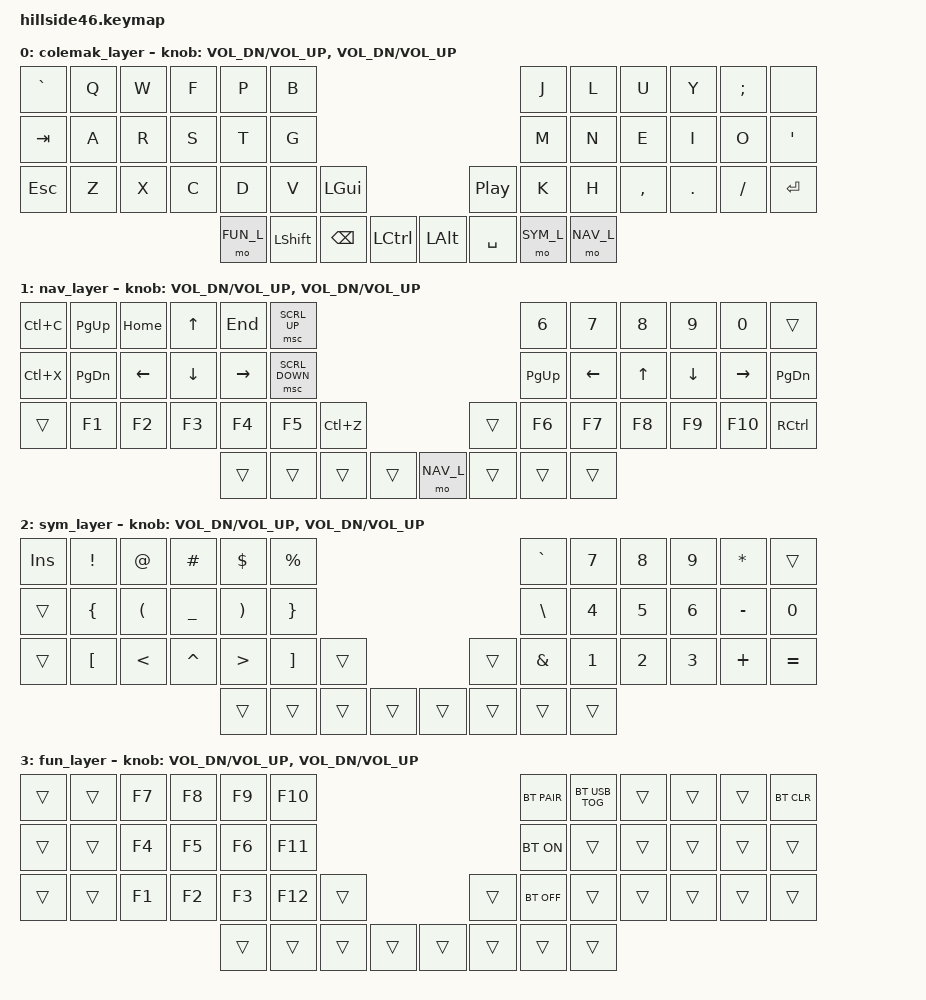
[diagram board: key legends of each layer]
/*
 * Copyright (c) 2021-2022 The ZMK Contributors
 *
 * SPDX-License-Identifier: MIT
 */

#include <behaviors.dtsi>
#include <dt-bindings/zmk/bt.h>
#include <dt-bindings/zmk/ext_power.h>
#include <dt-bindings/zmk/keys.h>
#include <dt-bindings/zmk/outputs.h>

// import mouse bindings
#include <dt-bindings/zmk/pointing.h>


#define COLEMK_L 0
#define NAV_L    1
#define SYM_L    2
#define FUN_L    3

#define Undo   LC(Z)
#define Cut    LC(X)
#define Copy   LC(C)
#define Paste  LC(V)
#define Redo   LC(Y)


/ {
        keymap {
                compatible = "zmk,keymap";
		
                colemak_layer {
/* COLEMAK-DH
 * -------------------------------------------------------------------------------------------------------------------------------------
 * | `     |   Q   |   W   |   F   |   P   |   B   |-----------------------------------|   J   |   L   |   U   |   Y   |   ;   | BKSPC |
 * | TAB   |   A   |   R   |   S   |   T   |   G   |-----------------------------------|   M   |   N   |   E   |   I   |   O   |   '   |
 * | ESC   |   Z   |   X   |   C   |   D   |   V   |  LGUI |-------------------| CAPS  |   K   |   H   |   ,   |   .   |   /   | ENTER |
 *                                 |  GUI  | LSHIFT|  BSPC | LCTRL |---|  ALT  | SPACE | SYM_L |  GUI  |
 */
                        bindings = <
&kp  GRAVE    &kp  Q        &kp  W        &kp  F        &kp  P        &kp  B                                                                         &kp  J        &kp  L        &kp  U        &kp  Y        &kp  SEMI     &none
&kp  TAB      &kp  A        &kp  R        &kp  S        &kp  T        &kp  G                                                                         &kp  M        &kp  N        &kp  E        &kp  I        &kp  O        &kp  SQT
&kp  ESC      &kp  Z        &kp  X        &kp  C        &kp  D        &kp  V        &kp   LGUI                                         &kp  C_PP     &kp  K        &kp  H        &kp  COMMA    &kp  DOT      &kp  SLASH    &kp  ENTER
                                                        &mo  FUN_L    &kp  LSHIFT   &kp  BSPC      &kp  LCTRL            &kp  LALT     &kp  SPACE    &mo  SYM_L    &mo  NAV_L
                        >;
			
                        // Note, two sensor bindings are defined here. The first one is for the left rotary encoder, and the second one is for the right rotary encoder.
                        //sensor-bindings = <&inc_dec_kp C_VOL_DN C_VOL_UP &inc_dec_kp PG_UP PG_DN>;
                        sensor-bindings = <&inc_dec_kp C_VOL_DN C_VOL_UP &inc_dec_kp C_VOL_DN C_VOL_UP>;

                };

                // // Rotary encoder configuration
                // encoder {
                //         bindings = <&inc VOL_UP &dec VOL_DOWN>;
                // };
		
                nav_layer {
/* NAV   
 * -------------------------------------------------------------------------------------------------------------------------------------
 * | Copy  |   1   |   2   |   3   |   4   |   5   |-----------------------------------|   6   |   7   |   8   |   9   |   0   | BSPC  |
 * | Cut   |  GUI  |  Alt  | Ctrl  | Shift | Paste |-----------------------------------| PG UP |  Left |  Up   |  Down | Right | PG DN |
 * | Ctrl  |  F1   |  F2   |  F3   |  F4   |  F5   |  UnDo |-------------------| ReDo  |  F6   |  F7   |  F8   |  F9   |  F10  | Ctrl  |
 *                                 |       |       |       |       |---| NAV_L |       |       |       |
 */
 // &msc SCRL_UP not working... try &kp SCRL_UP
                        bindings = <
&kp  Copy     &kp  PG_UP    &kp  HOME     &kp  UP       &kp  END      &msc SCRL_UP                                                                   &kp   N6      &kp   N7     &kp   N8      &kp   N9      &kp  N0       &trans
&kp  Cut      &kp  PG_DN    &kp  LEFT     &kp  DOWN     &kp  RIGHT    &msc SCRL_DOWN                                                                 &kp   PG_UP   &kp  LEFT    &kp   UP      &kp   DOWN    &kp  RIGHT    &kp PG_DN
&trans        &kp  F1       &kp  F2       &kp  F3       &kp  F4       &kp  F5       &kp Undo                                           &trans        &kp   F6      &kp  F7      &kp   F8      &kp   F9      &kp  F10      &kp RCTRL
                                                        &trans        &trans        &trans        &trans                 &mo NAV_L     &trans        &trans        &trans 
                        >;
			
                        sensor-bindings = <&inc_dec_kp C_VOL_DN C_VOL_UP &inc_dec_kp C_VOL_DN C_VOL_UP>;
                };

                sym_layer {
/* SYM
 * -------------------------------------------------------------------------------------------------------------------------------------
 * | INS   |   !   |   @   |   #   |   $   |   %   |-----------------------------------| ` or ~|   7   |   8   |   9   |   *   |       |
 * |       |   {   |   (   |   _   |   )   |   }   |-----------------------------------|\ or | |   4   |   5   |   6   |   -   |   0   |
 * |       |   [   |   <   |   ^   |   >   |   ]   |       |-------------------|       |   &   |   1   |   2   |   3   |   +   |   =   |
 *                                 |       |       |       |        |---|      |       |       |       |
 */
                        bindings = <
&kp  INS      &kp  EXCL     &kp  AT       &kp  HASH     &kp  DOLLAR   &kp  PERCENT                                                                   &kp  GRAVE    &kp  N7       &kp  N8       &kp  N9       &kp  ASTRK    &trans
&trans        &kp  LBRC     &kp  LPAR     &kp  UNDER    &kp  RPAR     &kp  RBRC                                                                      &kp  BSLH     &kp  N4       &kp  N5       &kp  N6       &kp  MINUS    &kp N0
&trans        &kp  LBKT     &kp  LT       &kp  CARET    &kp  GT       &kp  RBKT     &trans                                             &trans        &kp  AMPS     &kp  N1       &kp  N2       &kp  N3       &kp  PLUS     &kp EQUAL
                                                        &trans        &trans        &trans       &trans                   &trans       &trans        &trans        &trans
                        >;
			
                        sensor-bindings = <&inc_dec_kp C_VOL_DN C_VOL_UP &inc_dec_kp C_VOL_DN C_VOL_UP>;
                };

// Function Layer
                fun_layer {
                        bindings = <
&trans        &trans        &kp  F7       &kp  F8       &kp  F9       &kp  F10                                                                       &bt BT_PAIR   &bt USB_TOG   &trans        &trans        &trans        &bt BT_CLR
&trans        &trans        &kp  F4       &kp  F5       &kp  F6       &kp  F11                                                                       &bt BT_ON     &trans        &trans        &trans        &trans        &trans
&trans        &trans        &kp  F1       &kp  F2       &kp  F3       &kp  F12      &trans                                             &trans        &bt BT_OFF    &trans        &trans        &trans        &trans        &trans
                                                        &trans        &trans        &trans        &trans                 &trans        &trans        &trans        &trans 
                        >;
			
                        sensor-bindings = <&inc_dec_kp C_VOL_DN C_VOL_UP &inc_dec_kp C_VOL_DN C_VOL_UP>;
                };

        };
};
